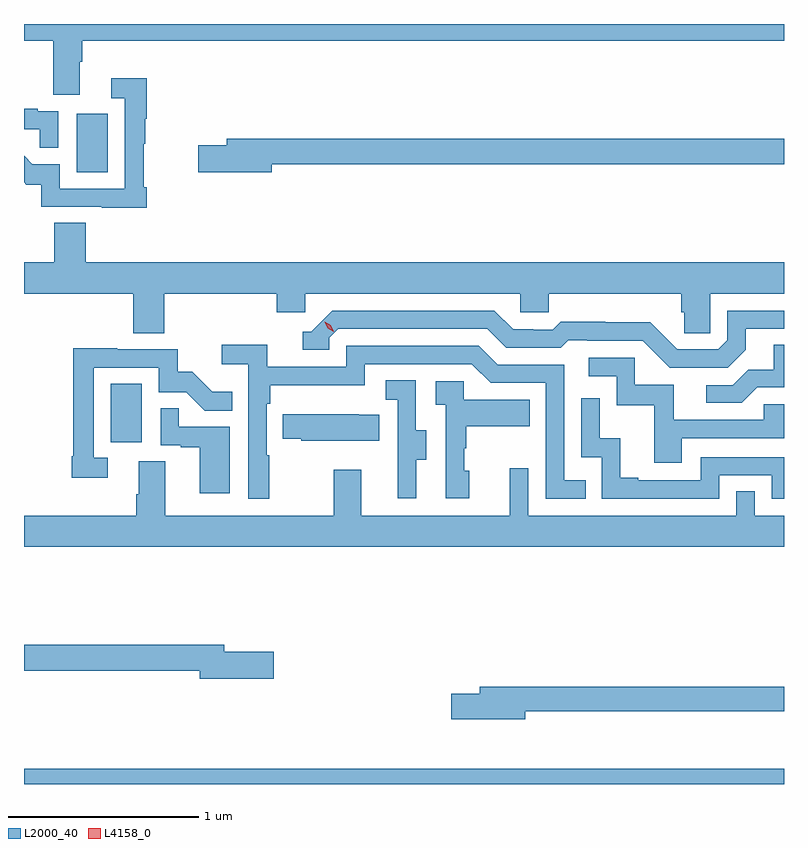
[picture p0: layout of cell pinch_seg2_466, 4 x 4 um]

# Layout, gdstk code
import gdstk
lib = gdstk.Library(unit=1e-6, precision=1e-09)
def R(c, l, rs):  # rectangles x0, y0, x1, y1
    for r in rs: c.add(gdstk.rectangle(r[:2], r[2:], *l))
def P(c, l, *ps):  # polygons
    for p in ps: c.add(gdstk.Polygon(p, *l))
L2000_40 = (2000, 40)
L4158_0 = (4158, 0)

pinch_seg2_466 = lib.new_cell('pinch_seg2_466')
R(pinch_seg2_466, L2000_40, [(945.637,586.447,949.637,586.528), (946.094,588.246,946.258,588.553), (945.914,589.668,946.078,589.975)])
P(pinch_seg2_466, L2000_40, [(945.931,590.248),(945.944,590.248),(945.944,590.36),(949.637,590.36),(949.637,590.447),(945.637,590.447),(945.637,590.36),(945.791,590.36),(945.791,590.074),(945.931,590.074)],
  [(946.283,589.588),(946.268,589.588),(946.268,589.818),(946.276,589.818),(946.276,589.948),(946.283,589.948),(946.283,590.161),(946.095,590.161),(946.095,590.055),(946.167,590.055),(946.167,589.581),(945.825,589.581),(945.825,589.71),(945.681,589.71),(945.637,589.754),(945.637,589.615),(945.65,589.602),(945.727,589.602),(945.727,589.485),(946.045,589.485),(946.045,589.48),(946.283,589.48)],
  [(945.816,589.989),(945.71,589.989),(945.71,590.002),(945.637,590.002),(945.637,589.893),(945.721,589.893),(945.721,589.795),(945.816,589.795)],
  [(946.942,589.708),(949.637,589.708),(949.637,589.844),(946.703,589.844),(946.703,589.808),(946.554,589.808),(946.554,589.666),(946.942,589.666)],
  [(946.376,589.028),(946.967,589.028),(946.967,588.93),(947.118,588.93),(947.118,589.028),(948.249,589.028),(948.249,588.93),(948.399,588.93),(948.399,589.028),(949.097,589.028),(949.097,588.93),(949.111,588.93),(949.111,588.82),(949.248,588.82),(949.248,589.028),(949.637,589.028),(949.637,589.192),(945.962,589.192),(945.962,589.4),(945.797,589.4),(945.797,589.192),(945.637,589.192),(945.637,589.028),(946.211,589.028),(946.211,588.82),(946.376,588.82)],
  [(949.435,588.733),(949.435,588.843),(949.637,588.843),(949.637,588.939),(949.338,588.939),(949.338,588.783),(949.29,588.735),(949.074,588.735),(948.932,588.877),(948.696,588.877),(948.696,588.88),(948.463,588.88),(948.421,588.837),(948.318,588.837),(948.318,588.84),(948.211,588.84),(948.112,588.939),(947.259,588.939),(947.148,588.828),(947.105,588.828),(947.105,588.732),(947.244,588.732),(947.244,588.795),(947.292,588.843),(948.075,588.843),(948.174,588.744),(948.463,588.744),(948.502,588.783),(948.601,588.783),(948.601,588.78),(948.894,588.78),(949.035,588.639),(949.341,588.639)],
  [(949.495,588.534),(949.637,588.534),(949.637,588.758),(949.583,588.758),(949.583,588.626),(949.448,588.626),(949.368,588.546),(949.227,588.546),(949.227,588.453),(949.414,588.453)],
  [(946.927,588.176),(946.914,588.176),(946.914,588.449),(946.934,588.449),(946.934,588.545),(947.43,588.545),(947.43,588.657),(947.994,588.657),(948.093,588.558),(948.384,588.558),(948.384,587.949),(948.593,587.949),(948.593,588.045),(948.48,588.045),(948.48,588.654),(948.13,588.654),(948.031,588.753),(947.334,588.753),(947.334,588.642),(946.916,588.642),(946.916,588.758),(946.677,588.758),(946.677,588.656),(946.818,588.656),(946.818,587.949),(946.927,587.949)],
  [(946.078,588.165),(946.005,588.165),(946.005,588.639),(946.347,588.639),(946.347,588.51),(946.491,588.51),(946.589,588.412),(946.733,588.412),(946.733,588.511),(946.629,588.511),(946.522,588.618),(946.446,588.618),(946.446,588.735),(946.127,588.735),(946.127,588.74),(945.897,588.74),(945.897,588.172),(945.889,588.172),(945.889,588.06),(946.078,588.06)],
  [(949.099,588.267),(949.637,588.267),(949.637,588.447),(949.531,588.447),(949.531,588.363),(949.057,588.363),(949.057,588.549),(948.852,588.549),(948.852,588.69),(948.609,588.69),(948.609,588.594),(948.756,588.594),(948.756,588.441),(948.955,588.441),(948.955,588.138),(949.099,588.138)],
  [(947.701,588.154),(947.755,588.154),(947.755,588.309),(947.7,588.309),(947.7,588.572),(947.541,588.572),(947.541,588.469),(947.604,588.469),(947.604,588.165),(947.603,588.165),(947.603,587.952),(947.701,587.952)],
  [(947.98,588.096),(947.955,588.096),(947.955,588.215),(947.965,588.215),(947.965,588.329),(948.299,588.329),(948.299,588.469),(947.952,588.469),(947.952,588.567),(947.805,588.567),(947.805,588.443),(947.856,588.443),(947.856,587.952),(947.98,587.952)],
  [(949.296,588.072),(949.572,588.072),(949.572,587.949),(949.637,587.949),(949.637,588.168),(949.2,588.168),(949.2,588.045),(948.871,588.045),(948.871,588.058),(948.776,588.058),(948.776,588.266),(948.666,588.266),(948.666,588.478),(948.57,588.478),(948.57,588.168),(948.678,588.168),(948.678,587.949),(949.296,587.949)],
  [(946.72,588.327),(946.451,588.327),(946.451,588.425),(946.356,588.425),(946.356,588.231),(946.463,588.231),(946.463,588.219),(946.562,588.219),(946.562,587.976),(946.72,587.976)],
  [(947.507,588.391),(947.399,588.391),(947.399,588.394),(946.999,588.394),(946.999,588.265),(947.097,588.265),(947.097,588.254),(947.507,588.254)],
  [(948.194,588.109),(948.194,587.86),(947.413,587.86),(947.413,588.1),(947.266,588.1),(947.266,587.86),(946.381,587.86),(946.381,588.146),(946.241,588.146),(946.241,587.972),(946.229,587.972),(946.229,587.86),(945.637,587.86),(945.637,587.696),(949.637,587.696),(949.637,587.86),(949.482,587.86),(949.482,587.987),(949.386,587.987),(949.386,587.86),(948.291,587.86),(948.291,588.109)],
  [(946.951,587.144),(946.69,587.144),(946.69,587.18),(945.637,587.18),(945.637,587.044),(946.562,587.044),(946.562,587.002),(946.951,587.002)],
  [(948.274,586.83),(949.637,586.83),(949.637,586.958),(948.035,586.958),(948.035,586.922),(947.886,586.922),(947.886,586.787),(948.274,586.787)])
P(pinch_seg2_466, L4158_0, [(947.266,588.827),(947.236,588.847),(947.22,588.88),(947.22,588.881),(947.22,588.881),(947.251,588.861),(947.266,588.828),(947.266,588.827)])

lib.write_gds('pinch_seg2_466.gds')
